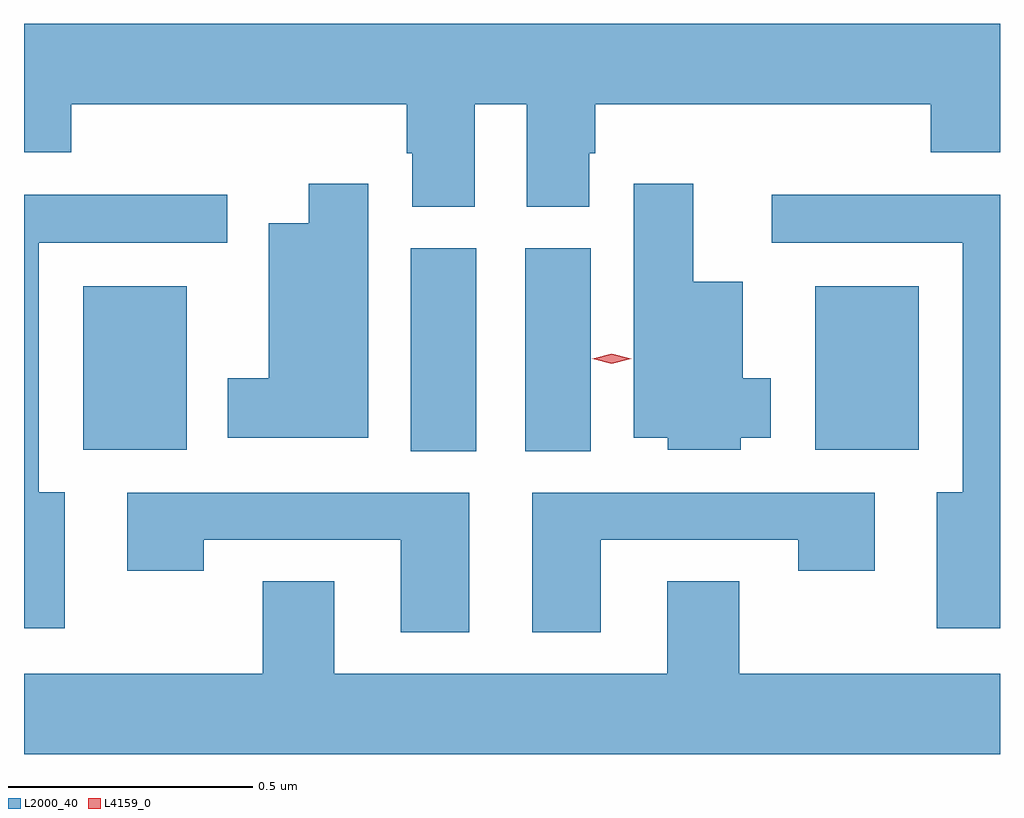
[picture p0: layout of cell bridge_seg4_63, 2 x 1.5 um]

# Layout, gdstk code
import gdstk
lib = gdstk.Library(unit=1e-6, precision=1e-09)
def R(c, l, rs):  # rectangles x0, y0, x1, y1
    for r in rs: c.add(gdstk.rectangle(r[:2], r[2:], *l))
def P(c, l, *ps):  # polygons
    for p in ps: c.add(gdstk.Polygon(p, *l))
L2000_40 = (2000, 40)
L4159_0 = (4159, 0)

bridge_seg4_63 = lib.new_cell('bridge_seg4_63')
R(bridge_seg4_63, L2000_40, [(778.736,828.076,778.87,828.492), (778.97,828.076,779.104,828.492), (778.064,828.08,778.276,828.415), (779.564,828.08,779.776,828.415)])
P(bridge_seg4_63, L2000_40, [(778.867,828.788),(778.973,828.788),(778.973,828.577),(779.101,828.577),(779.101,828.687),(779.114,828.687),(779.114,828.788),(779.801,828.788),(779.801,828.689),(779.943,828.689),(779.943,828.952),(777.943,828.952),(777.943,828.689),(778.04,828.689),(778.04,828.788),(778.727,828.788),(778.727,828.687),(778.739,828.687),(778.739,828.577),(778.867,828.577)],
  [(779.412,828.104),(779.473,828.104),(779.473,828.226),(779.416,828.226),(779.416,828.424),(779.314,828.424),(779.314,828.625),(779.192,828.625),(779.192,828.104),(779.262,828.104),(779.262,828.08),(779.412,828.08)],
  [(778.648,828.625),(778.526,828.625),(778.526,828.544),(778.445,828.544),(778.445,828.226),(778.361,828.226),(778.361,828.104),(778.648,828.104)],
  [(779.943,828.602),(779.475,828.602),(779.475,828.504),(779.867,828.504),(779.867,827.992),(779.813,827.992),(779.813,827.714),(779.943,827.714)],
  [(778.027,827.992),(777.973,827.992),(777.973,828.504),(778.36,828.504),(778.36,828.602),(777.943,828.602),(777.943,827.714),(778.027,827.714)],
  [(779.125,827.895),(779.53,827.895),(779.53,827.832),(779.686,827.832),(779.686,827.991),(778.985,827.991),(778.985,827.706),(779.125,827.706)],
  [(778.855,827.991),(778.155,827.991),(778.155,827.832),(778.311,827.832),(778.311,827.895),(778.715,827.895),(778.715,827.706),(778.855,827.706)],
  [(779.943,827.62),(779.409,827.62),(779.409,827.81),(779.261,827.81),(779.261,827.62),(778.579,827.62),(778.579,827.81),(778.432,827.81),(778.432,827.62),(777.943,827.62),(777.943,827.456),(779.943,827.456)])
P(bridge_seg4_63, L4159_0, [(779.147,828.256),(779.107,828.266),(779.106,828.266),(779.107,828.266),(779.147,828.276),(779.187,828.266),(779.187,828.266),(779.187,828.266)])

lib.write_gds('bridge_seg4_63.gds')
